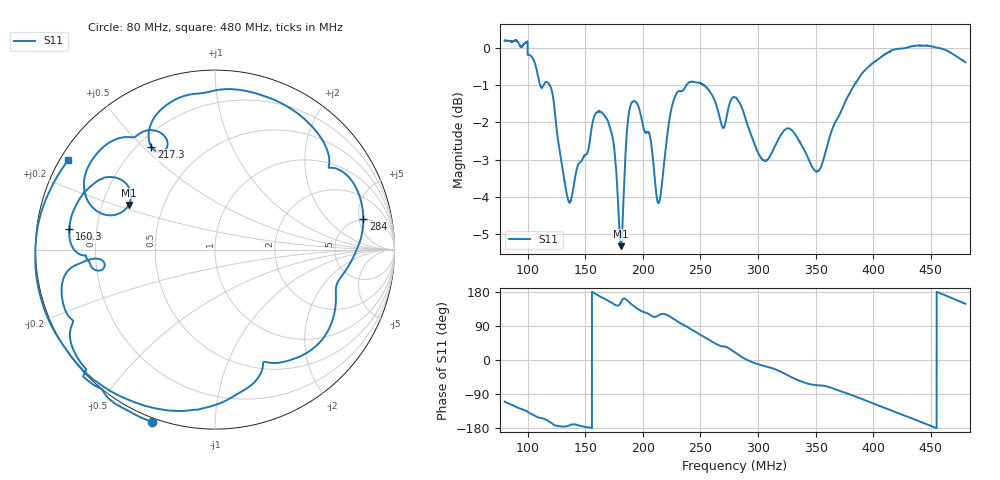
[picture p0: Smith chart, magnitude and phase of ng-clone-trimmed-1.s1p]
# HZ S RI R 50
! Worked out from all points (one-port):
!   8080 points, 80 MHz to 480 MHz, reference 50 ohm
!   lowest |S11| = -5.3 dB at 181 MHz (marker M1), VSWR 3.36, Z = 15.7 + j11 ohm
!   |S11| at or under -10 dB: nowhere
!   S11 on the Smith chart (normalised r, x): 80 MHz: -0.02, -0.70; 160.3 MHz: 0.10, +0.07; 217.3 MHz: 0.25, +0.53; 284 MHz: 4.85, +5.76; 480 MHz: 0.02, +0.28
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8e7  -0.3488 -0.9613
9.797249e7  -0.6975 -0.7382
1.060923e8  -0.8027 -0.5196
1.20698e8  -0.8541 -0.2081
1.300061e8  -0.69 -0.053
1.417897e8  -0.6682 -0.1132
1.602573e8  -0.8115 0.1136
1.747145e8  -0.6286 0.395
1.800122e8  -0.4685 0.3001
1.809529e8  -0.4809 0.2491
1.839236e8  -0.6357 0.2024
1.884291e8  -0.7283 0.391
1.979847e8  -0.5264 0.6228
2.10313e8  -0.2685 0.6112
2.17294e8  -0.3539 0.572
2.228392e8  -0.3495 0.7161
2.300183e8  -0.1783 0.854
2.491296e8  0.3356 0.8319
2.800244e8  0.8078 0.2903
2.839853e8  0.8264 0.171
2.948282e8  0.7541 -0.0741
3.300306e8  0.5289 -0.5639
3.521125e8  0.2698 -0.6274
3.800367e8  -0.0179 -0.872
4.039505e8  -0.4742 -0.84
4.300428e8  -0.8676 -0.5004
4.555904e8  -1 0.0113
4.799994e8  -0.8129 0.5043
